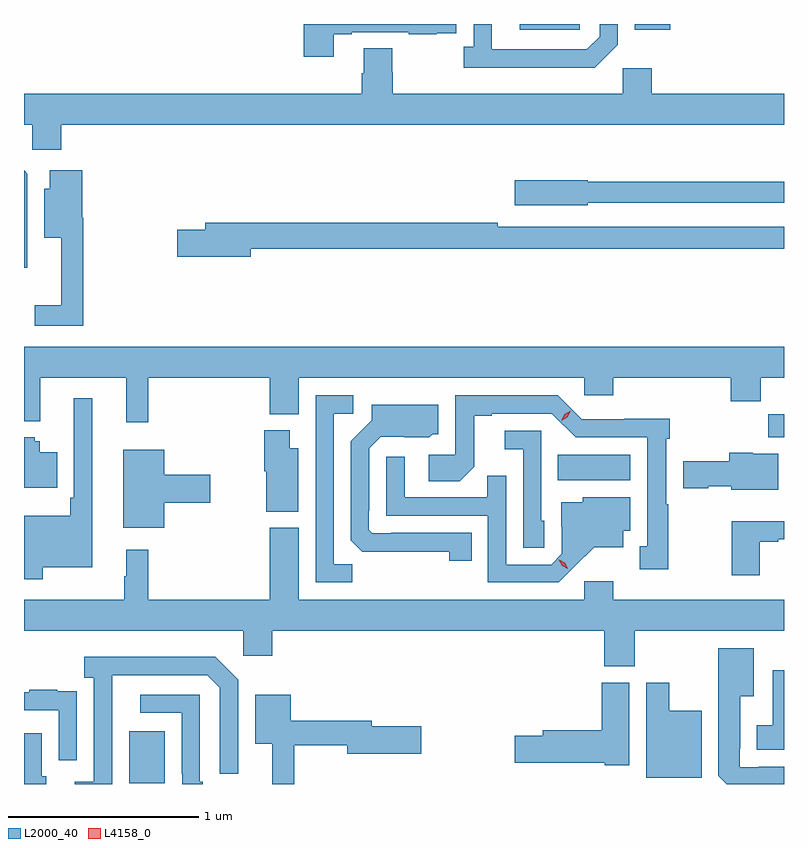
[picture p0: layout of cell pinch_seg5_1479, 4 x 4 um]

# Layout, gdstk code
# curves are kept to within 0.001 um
import gdstk
lib = gdstk.Library(unit=1e-6, precision=1e-09)
def R(c, l, rs):  # rectangles x0, y0, x1, y1
    for r in rs: c.add(gdstk.rectangle(r[:2], r[2:], *l))
def P(c, l, *ps):  # polygons
    for p in ps: c.add(gdstk.Polygon(p, *l))
L2000_40 = (2000, 40)
L4158_0 = (4158, 0)

pinch_seg5_1479 = lib.new_cell('pinch_seg5_1479')
R(pinch_seg5_1479, L2000_40, [(303.389,862.617,303.577,862.891), (305.644,864.212,306.028,864.346), (306.754,864.44,306.836,864.559), (305.445,866.583,305.76,866.614), (306.05,866.585,306.238,866.614)])
P(pinch_seg5_1479, L2000_40, [(305.961,866.505),(305.961,866.614),(305.865,866.614),(305.865,866.547),(305.799,866.481),(305.299,866.481),(305.299,866.614),(305.202,866.614),(305.202,866.494),(305.151,866.494),(305.151,866.384),(305.84,866.384)],
  [(304.465,866.559),(304.561,866.559),(304.561,866.571),(304.861,866.571),(304.861,866.559),(305.009,866.559),(305.009,866.565),(305.111,866.565),(305.111,866.614),(304.309,866.614),(304.309,866.442),(304.465,866.442)],
  [(303.032,866.084),(306.836,866.084),(306.836,866.248),(306.14,866.248),(306.14,866.38),(305.988,866.38),(305.988,866.248),(304.778,866.248),(304.778,866.361),(304.773,866.361),(304.773,866.486),(304.625,866.486),(304.625,866.354),(304.613,866.354),(304.613,866.248),(302.836,866.248),(302.836,866.084),(302.88,866.084),(302.88,865.953),(303.032,865.953)],
  [(302.853,865.827),(302.836,865.844),(302.836,865.332),(302.853,865.332)],
  [(303.149,865.594),(303.143,865.594),(303.143,865.843),(302.972,865.843),(302.972,865.747),(302.942,865.747),(302.942,865.49),(303.032,865.49),(303.032,865.135),(302.892,865.135),(302.892,865.026),(303.149,865.026)],
  [(305.802,865.674),(306.836,865.674),(306.836,865.783),(305.802,865.783),(305.802,865.791),(305.418,865.791),(305.418,865.661),(305.802,865.661)],
  [(304.03,865.432),(306.836,865.432),(306.836,865.548),(305.33,865.548),(305.33,865.568),(303.791,865.568),(303.791,865.532),(303.642,865.532),(303.642,865.39),(304.03,865.39)],
  [(303.491,864.752),(304.13,864.752),(304.13,864.56),(304.282,864.56),(304.282,864.752),(305.784,864.752),(305.784,864.659),(305.936,864.659),(305.936,864.752),(306.557,864.752),(306.557,864.628),(306.713,864.628),(306.713,864.752),(306.836,864.752),(306.836,864.916),(302.836,864.916),(302.836,864.524),(302.921,864.524),(302.921,864.752),(303.374,864.752),(303.374,864.519),(303.491,864.519)],
  [(306.227,864.086),(306.217,864.086),(306.217,864.431),(306.235,864.431),(306.235,864.536),(305.994,864.536),(305.994,864.534),(305.772,864.534),(305.646,864.66),(305.106,864.66),(305.106,864.348),(304.965,864.348),(304.965,864.208),(305.129,864.208),(305.205,864.284),(305.205,864.552),(305.299,864.552),(305.299,864.564),(305.613,864.564),(305.739,864.438),(306.116,864.438),(306.116,863.865),(306.077,863.865),(306.077,863.745),(306.227,863.745)],
  [(304.563,863.771),(304.467,863.771),(304.467,864.564),(304.57,864.564),(304.57,864.66),(304.371,864.66),(304.371,863.676),(304.563,863.676)],
  [(302.935,863.756),(303.196,863.756),(303.196,864.643),(303.099,864.643),(303.099,864.121),(303.079,864.121),(303.079,864.025),(302.836,864.025),(302.836,863.691),(302.935,863.691)],
  [(305.192,863.937),(304.768,863.937),(304.768,863.934),(304.668,863.934),(304.65,863.952),(304.65,864.052),(304.653,864.052),(304.653,864.381),(304.713,864.441),(304.97,864.44),(304.986,864.456),(305.017,864.456),(305.017,864.61),(304.667,864.61),(304.667,864.528),(304.557,864.418),(304.557,863.896),(304.616,863.837),(305.074,863.836),(305.074,863.79),(305.192,863.79)],
  [(304.279,864.382),(304.234,864.382),(304.234,864.475),(304.1,864.475),(304.1,864.261),(304.112,864.261),(304.112,864.047),(304.279,864.047)],
  [(305.574,864),(305.559,864),(305.559,864.474),(305.367,864.474),(305.367,864.377),(305.463,864.377),(305.463,863.857),(305.574,863.857)],
  [(303.01,864.361),(302.92,864.361),(302.92,864.417),(302.892,864.417),(302.892,864.439),(302.836,864.439),(302.836,864.173),(303.01,864.173)],
  [(303.574,864.095),(303.817,864.095),(303.817,864.242),(303.574,864.242),(303.574,864.373),(303.359,864.373),(303.359,863.963),(303.574,863.963)],
  [(306.805,864.352),(306.672,864.352),(306.672,864.358),(306.547,864.358),(306.547,864.312),(306.306,864.312),(306.306,864.17),(306.438,864.17),(306.438,864.182),(306.558,864.182),(306.558,864.164),(306.805,864.164)],
  [(305.734,863.759),(305.837,863.861),(305.989,863.861),(305.989,863.948),(306.028,863.948),(306.028,864.124),(305.778,864.124),(305.778,864.097),(305.663,864.097),(305.663,863.968),(305.667,863.968),(305.667,863.826),(305.61,863.769),(305.373,863.769),(305.373,864.236),(305.275,864.236),(305.275,864.123),(304.839,864.123),(304.839,864.337),(304.743,864.337),(304.743,864.027),(305.277,864.027),(305.277,863.676),(305.65,863.676)],
  [(306.709,863.889),(306.805,863.889),(306.805,863.901),(306.836,863.901),(306.836,863.998),(306.562,863.998),(306.562,863.712),(306.709,863.712)],
  [(306.051,863.42),(306.836,863.42),(306.836,863.584),(305.936,863.584),(305.936,863.68),(305.784,863.68),(305.784,863.584),(304.282,863.584),(304.282,863.962),(304.13,863.962),(304.13,863.584),(303.491,863.584),(303.491,863.848),(303.374,863.848),(303.374,863.708),(303.363,863.708),(303.363,863.584),(302.836,863.584),(302.836,863.42),(303.99,863.42),(303.99,863.289),(304.142,863.289),(304.142,863.42),(305.891,863.42),(305.891,863.233),(306.051,863.233)],
  [(306.836,862.705),(306.703,862.705),(306.703,862.701),(306.603,862.701),(306.603,862.801),(306.607,862.801),(306.607,863.075),(306.676,863.075),(306.676,863.329),(306.491,863.329),(306.491,862.657),(306.534,862.614),(306.836,862.614)],
  [(303.3,862.987),(303.301,863.187),(303.801,863.187),(303.867,863.121),(303.867,862.668),(303.963,862.668),(303.963,863.163),(303.842,863.284),(303.153,863.284),(303.153,863.174),(303.204,863.174),(303.204,862.626),(303.102,862.626),(303.102,862.614),(303.3,862.614)],
  [(306.836,863.212),(306.776,863.212),(306.776,862.924),(306.692,862.924),(306.692,862.793),(306.836,862.793)],
  [(306.022,863.148),(305.876,863.148),(305.876,862.898),(305.567,862.898),(305.567,862.868),(305.418,862.868),(305.418,862.726),(305.892,862.726),(305.892,862.712),(306.022,862.712)],
  [(306.403,862.999),(306.232,862.999),(306.232,863.146),(306.11,863.146),(306.11,862.646),(306.403,862.646)],
  [(303.114,862.994),(303.113,862.994),(303.113,863.103),(303.011,863.103),(303.011,863.11),(302.863,863.11),(302.863,863.097),(302.836,863.097),(302.836,863.001),(303.018,863.001),(303.018,862.74),(303.114,862.74)],
  [(303.777,862.627),(303.762,862.627),(303.762,863.085),(303.447,863.085),(303.447,862.989),(303.666,862.989),(303.666,862.669),(303.669,862.669),(303.669,862.614),(303.777,862.614)],
  [(304.259,862.819),(304.538,862.819),(304.538,862.772),(304.927,862.772),(304.927,862.919),(304.666,862.919),(304.666,862.948),(304.24,862.948),(304.24,863.083),(304.052,863.083),(304.052,862.826),(304.142,862.826),(304.142,862.614),(304.259,862.614)],
  [(302.953,862.656),(302.929,862.656),(302.929,862.882),(302.836,862.882),(302.836,862.614),(302.953,862.614)])
P(pinch_seg5_1479, L4158_0, [(305.664,864.526),(305.664,864.527),(305.681,864.559),(305.713,864.578),(305.713,864.578),(305.713,864.578),(305.696,864.545),(305.664,864.526)],
  [(305.698,863.748),(305.668,863.764),(305.651,863.793),(305.651,863.794),(305.652,863.794),(305.682,863.778),(305.699,863.749),(305.699,863.748)])

lib.write_gds('pinch_seg5_1479.gds')
